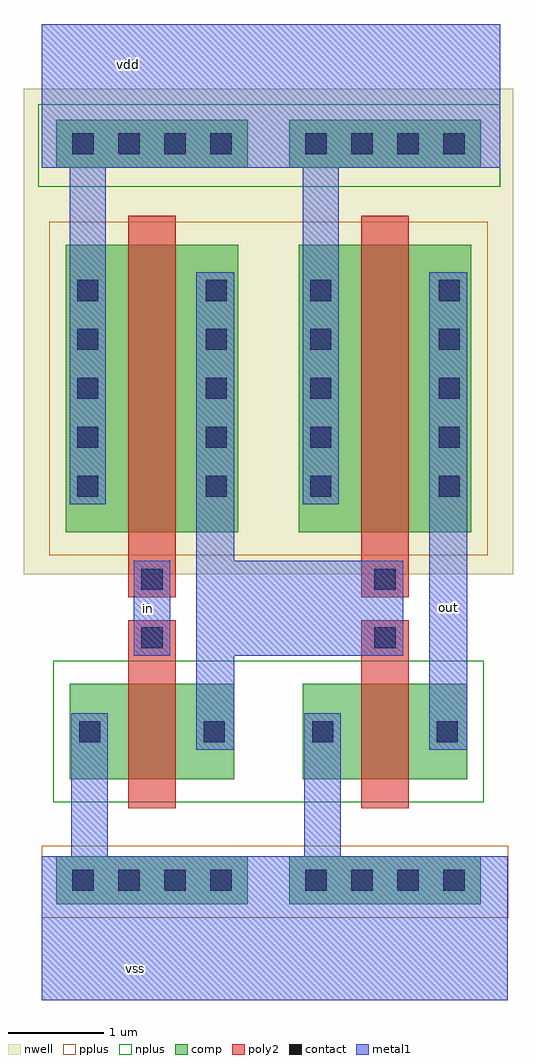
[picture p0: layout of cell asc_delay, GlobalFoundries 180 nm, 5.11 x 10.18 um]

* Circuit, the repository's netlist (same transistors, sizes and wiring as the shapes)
* Extracted by KLayout with GF180MCU LVS runset on : 14/08/2025 19:20

.SUBCKT asc_delay vss out in vdd
M$1 \$2 in vdd vdd pfet_03v3 L=0.5U W=3U AS=1.95P AD=1.95P PS=7.3U PD=7.3U
M$2 out \$2 vdd vdd pfet_03v3 L=0.5U W=3U AS=1.95P AD=1.95P PS=7.3U PD=7.3U
M$3 \$2 in vss vss nfet_03v3 L=0.5U W=1U AS=0.61P AD=0.61P PS=3.22U PD=3.22U
M$4 out \$2 vss vss nfet_03v3 L=0.5U W=1U AS=0.61P AD=0.61P PS=3.22U PD=3.22U
.ENDS asc_delay

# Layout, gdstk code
from math import pi, radians
import gdstk
lib = gdstk.Library(unit=1e-6, precision=5e-09)
def R(c, l, rs):  # rectangles x0, y0, x1, y1
    for r in rs: c.add(gdstk.rectangle(r[:2], r[2:], *l))
def A(c, l, x, y, w, h, nx, ny, dx, dy):  # array of equal rectangles
    R(c, l, [(x+i*dx, y+j*dy, x+i*dx+w, y+j*dy+h) for i in range(nx) for j in range(ny)])
nwell = (21, 0)
comp = (22, 0)
poly2 = (30, 0)
pplus = (31, 0)
nplus = (32, 0)
contact = (33, 0)
metal1 = (34, 0)

via_dev = lib.new_cell('via_dev')
R(via_dev, comp, [(0,0,2,0.5)])
A(via_dev, contact, 0.17, 0.14, 0.22, 0.22, 4, 1, 0.48, 0)
R(via_dev, metal1, [(0,0,2,0.5)])

nfet = lib.new_cell('nfet')
R(nfet, comp, [(-0.42,0,0,1), (0,0,0.88,1), (0.88,0,1.3,1)])
R(nfet, poly2, [(0.19,-0.3,0.69,1.3), (0.19,1.3,0.69,1.66)])
R(nfet, nplus, [(-0.59,-0.24,1.47,1.24)])
R(nfet, contact, [(-0.32,0.39,-0.1,0.61), (0.98,0.39,1.2,0.61), (0.33,1.37,0.55,1.59)])
R(nfet, metal1, [(-0.4,0.31,-0.02,0.69), (0.9,0.31,1.28,0.69), (0.25,1.29,0.63,1.67)])

via_dev_1 = lib.new_cell('via_dev$1')

pfet = lib.new_cell('pfet')
R(pfet, nwell, [(-0.9,-0.44,1.78,3.44)])
R(pfet, comp, [(-0.46,0,0,3), (0,0,0.88,3), (0.88,0,1.34,3)])
R(pfet, poly2, [(0.19,-0.68,0.69,-0.3), (0.19,-0.3,0.69,3.3)])
R(pfet, pplus, [(-0.63,-0.24,1.51,3.24)])
A(pfet, contact, -0.34, 0.37, 0.22, 0.22, 1, 5, 0, 0.51)
A(pfet, contact, 1, 0.37, 0.22, 0.22, 1, 5, 0, 0.51)
R(pfet, contact, [(0.33,-0.6,0.55,-0.38)])
R(pfet, metal1, [(0.25,-0.68,0.63,-0.3), (-0.42,0.29,-0.04,2.71), (0.92,0.29,1.3,2.71)])

asc_delay = lib.new_cell('asc_delay')
R(asc_delay, nwell, [(2.59,5.445,5.27,6.63), (5.02,5.445,7.7,6.63)])
R(asc_delay, pplus, [(2.78,-2.015,5.215,-1.265), (5.21,-2.015,7.645,-1.265), (5,1.765,5.29,5.245)])
R(asc_delay, nplus, [(4.96,-0.815,5.33,0.665), (2.745,5.605,5.13,6.47), (5.13,5.605,5.175,6.47), (5.175,5.605,7.56,6.47)])
R(asc_delay, metal1, [(2.78,-2.875,5.21,-1.375), (5.21,-2.875,7.64,-1.375), (2.78,-1.875,2.93,-1.375), (3.09,-1.875,3.47,0.115), (5.21,-1.875,5.36,-1.375), (5.52,-1.875,5.9,0.115), (4.39,-0.265,4.79,4.715), (6.82,-0.265,7.22,4.715), (3.74,0.715,4.12,1.705), (4.39,0.715,6.55,1.705), (6.17,0.715,6.55,1.705), (3.07,2.295,3.45,6.305), (5.5,2.295,5.88,6.305), (2.78,5.805,2.93,6.305), (2.78,5.805,5.13,7.305), (5.13,5.805,5.21,7.305), (5.21,5.805,5.36,6.305), (5.21,5.805,7.56,7.305)])
asc_delay.add(gdstk.Reference(via_dev, (5.36,5.805)))
asc_delay.add(gdstk.Reference(via_dev, (2.93,5.805)))
asc_delay.add(gdstk.Reference(via_dev, (2.93,-1.875)))
asc_delay.add(gdstk.Reference(nfet, (3.49,-0.575)))
asc_delay.add(gdstk.Reference(via_dev_1, (2.13,-2.465), rotation=pi/2))
asc_delay.add(gdstk.Reference(pfet, (3.49,2.005)))
asc_delay.add(gdstk.Reference(via_dev, (5.36,-1.875)))
asc_delay.add(gdstk.Reference(nfet, (5.92,-0.575)))
asc_delay.add(gdstk.Reference(via_dev_1, (4.56,-2.465), rotation=pi/2))
asc_delay.add(gdstk.Reference(pfet, (5.92,2.005)))
asc_delay.add(gdstk.Label('vdd', (3.68,6.88), layer=34, texttype=10))
asc_delay.add(gdstk.Label('in', (3.895,1.205), layer=34, texttype=10))
asc_delay.add(gdstk.Label('vss', (3.76,-2.545), layer=34, texttype=10))
asc_delay.add(gdstk.Label('out', (7.025,1.215), layer=34, texttype=10))

lib.write_gds('asc_delay.gds')
